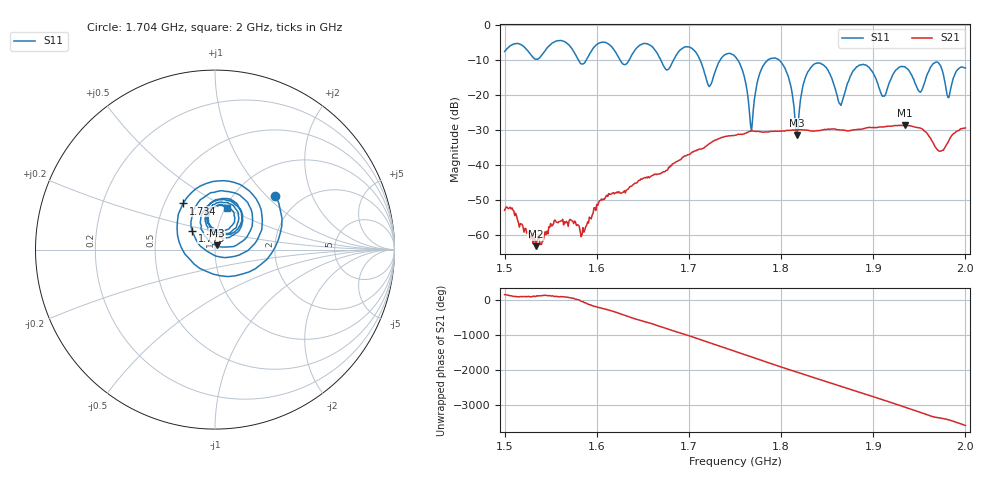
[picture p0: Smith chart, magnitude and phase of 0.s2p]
! NanoVNA-App by SYSJOINT et al v1.1.209 (+OD18)
! Date: 2026-01-21 14:51:49
! Start: 1,5GHz Stop: 2GHz Points: 501
! S-Parameter data: F S11 S21 S12 S22
# Hz S RI R 50
!  Frequency  S11_Real  S11_Imag  S21_Real  S21_Imag  S12_Real  S12_Imag  S22_Real  S22_Imag
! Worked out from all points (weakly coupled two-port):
!   501 points, 1.5 GHz to 2 GHz, reference 50 ohm
!   highest |S21| = -28.77 dB at 1.934 GHz (marker M1); lowest = -63.3 dB at 1.534 GHz (marker M2)
!   lowest |S11| = -31.5 dB at 1.817 GHz (marker M3), VSWR 1.05, Z = 50.9 + j2.52 ohm
!   |S11| at or under -10 dB: 1.712 GHz to 1.734 GHz (22.25 MHz wide, 1.29 % of centre); 1.753 GHz to 1.786 GHz (33.1 MHz wide, 1.87 % of centre); 1.797 GHz to end of sweep (the widest 3 of 6)
!   S12 and S22 are empty: the file has one direction only
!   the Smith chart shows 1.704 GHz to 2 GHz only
!   S11 on the Smith chart (normalised r, x): 1.704 GHz: 1.51, +1.12; 1.734 GHz: 0.62, +0.35; 1.775 GHz: 0.76, +0.17; 2 GHz: 1.02, +0.50
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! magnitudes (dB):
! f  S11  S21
! 1.5 GHz  -7.6  -53.1
! 1.534 GHz  -9.9  -63.3
! 1.561 GHz  -4.5  -56.1
! 1.584 GHz  -11.2  -60.1
! 1.667 GHz  -8.8  -42.7
! 1.704 GHz  -7.0  -36.3
! 1.722 GHz  -17.7  -34.0
! 1.734 GHz  -10.1  -32.4
! 1.75 GHz  -9.1  -31.6
! 1.767 GHz  -29.0  -30.4
! 1.775 GHz  -15.6  -30.5
! 1.8 GHz  -10.7  -30.5
! 1.817 GHz  -31.5  -30.0
! 1.834 GHz  -11.7  -30.4
! 1.864 GHz  -22.7  -30.1
! 1.886 GHz  -11.5  -29.9
! 1.917 GHz  -16.9  -29.0
! 1.934 GHz  -12.0  -28.8
! 1.951 GHz  -19.3  -29.5
! 1.97 GHz  -10.7  -35.8
! 1.981 GHz  -20.7  -33.7
! 2 GHz  -12.3  -29.5
